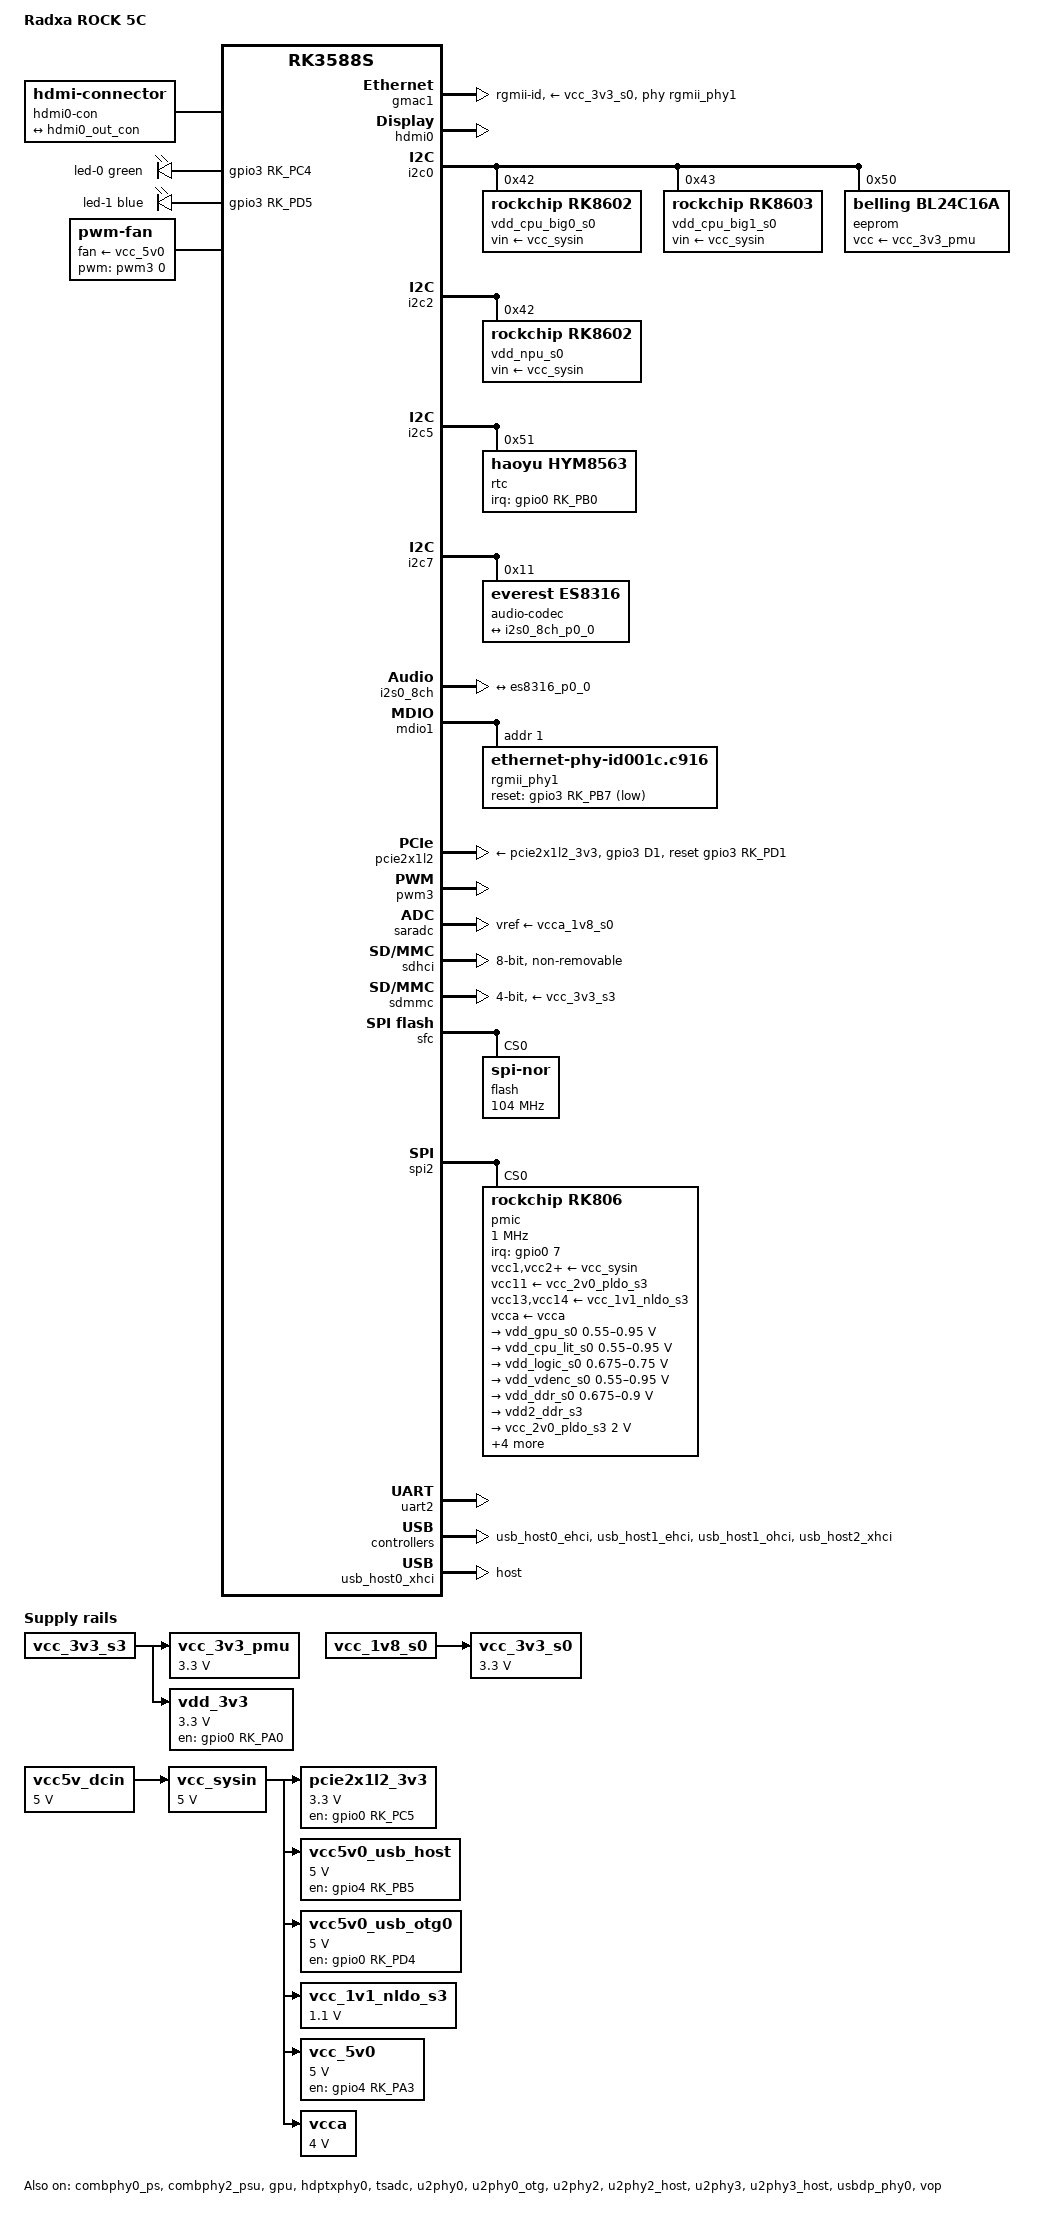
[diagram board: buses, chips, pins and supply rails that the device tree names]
// SPDX-License-Identifier: (GPL-2.0+ OR MIT)
/*
 * Copyright (c) 2024 Radxa Computer (Shenzhen) Co., Ltd.
 */

/dts-v1/;

#include <dt-bindings/gpio/gpio.h>
#include <dt-bindings/leds/common.h>
#include <dt-bindings/pinctrl/rockchip.h>
#include <dt-bindings/soc/rockchip,vop2.h>
#include "rk3588s.dtsi"

/ {
	model = "Radxa ROCK 5C";
	compatible = "radxa,rock-5c", "rockchip,rk3588s";

	aliases {
		ethernet0 = &gmac1;
		mmc0 = &sdhci;
		mmc1 = &sdmmc;
	};

	chosen {
		stdout-path = "serial2:1500000n8";
	};

	analog-sound {
		compatible = "audio-graph-card";
		label = "rk3588-es8316";
		dais = <&i2s0_8ch_p0>;
		routing = "MIC2", "Mic Jack",
			  "Headphones", "HPOL",
			  "Headphones", "HPOR";
		widgets = "Microphone", "Mic Jack",
			  "Headphone", "Headphones";
	};

	hdmi0-con {
		compatible = "hdmi-connector";
		type = "a";

		port {
			hdmi0_con_in: endpoint {
				remote-endpoint = <&hdmi0_out_con>;
			};
		};
	};

	leds {
		compatible = "gpio-leds";
		pinctrl-names = "default";
		pinctrl-0 = <&led_pins>;

		led-0 {
			color = <LED_COLOR_ID_GREEN>;
			default-state = "on";
			function = LED_FUNCTION_POWER;
			gpios = <&gpio3 RK_PC4 GPIO_ACTIVE_HIGH>;
		};

		led-1 {
			color = <LED_COLOR_ID_BLUE>;
			default-state = "on";
			function = LED_FUNCTION_HEARTBEAT;
			gpios = <&gpio3 RK_PD5 GPIO_ACTIVE_HIGH>;
			linux,default-trigger = "heartbeat";
		};
	};

	fan: fan {
		compatible = "pwm-fan";
		#cooling-cells = <2>;
		cooling-levels = <0 24 44 64 128 192 255>;
		fan-supply = <&vcc_5v0>;
		pwms = <&pwm3 0 10000 0>;
	};

	pcie2x1l2_3v3: regulator-pcie2x1l2-3v3 {
		compatible = "regulator-fixed";
		enable-active-high;
		gpio = <&gpio0 RK_PC5 GPIO_ACTIVE_HIGH>;
		pinctrl-names = "default";
		pinctrl-0 = <&pow_en>;
		regulator-name = "pcie2x1l2_3v3";
		regulator-min-microvolt = <3300000>;
		regulator-max-microvolt = <3300000>;
		vin-supply = <&vcc_sysin>;
	};

	vcc5v_dcin: regulator-vcc5v-dcin {
		compatible = "regulator-fixed";
		regulator-name = "vcc5v_dcin";
		regulator-always-on;
		regulator-boot-on;
		regulator-min-microvolt = <5000000>;
		regulator-max-microvolt = <5000000>;
	};

	vcc5v0_usb_host: regulator-vcc5v0-usb-host {
		compatible = "regulator-fixed";
		enable-active-high;
		gpio = <&gpio4 RK_PB5 GPIO_ACTIVE_HIGH>;
		pinctrl-names = "default";
		pinctrl-0 = <&usb_host_pwren_h>;
		regulator-name = "vcc5v0_usb_host";
		regulator-min-microvolt = <5000000>;
		regulator-max-microvolt = <5000000>;
		vin-supply = <&vcc_sysin>;
	};

	vcc5v0_usb_otg0: regulator-vcc5v0-usb-otg0 {
		compatible = "regulator-fixed";
		enable-active-high;
		gpio = <&gpio0 RK_PD4 GPIO_ACTIVE_HIGH>;
		pinctrl-names = "default";
		pinctrl-0 = <&usb_otg_pwren_h>;
		regulator-name = "vcc5v0_usb_otg0";
		regulator-min-microvolt = <5000000>;
		regulator-max-microvolt = <5000000>;
		vin-supply = <&vcc_sysin>;
	};

	vcc_1v1_nldo_s3: regulator-vcc-1v1-nldo-s3 {
		compatible = "regulator-fixed";
		regulator-name = "vcc_1v1_nldo_s3";
		regulator-always-on;
		regulator-boot-on;
		regulator-min-microvolt = <1100000>;
		regulator-max-microvolt = <1100000>;
		vin-supply = <&vcc_sysin>;
	};

	vcc_3v3_pmu: regulator-vcc-3v3-pmu {
		compatible = "regulator-fixed";
		regulator-name = "vcc_3v3_pmu";
		regulator-always-on;
		regulator-boot-on;
		regulator-min-microvolt = <3300000>;
		regulator-max-microvolt = <3300000>;
		vin-supply = <&vcc_3v3_s3>;
	};

	vcc_3v3_s0: regulator-vcc-3v3-s0 {
		compatible = "regulator-fixed";
		regulator-name = "vcc_3v3_s0";
		regulator-always-on;
		regulator-boot-on;
		regulator-min-microvolt = <3300000>;
		regulator-max-microvolt = <3300000>;
		vin-supply = <&vcc_1v8_s0>;
	};

	vcc_5v0: regulator-vcc-5v0 {
		compatible = "regulator-fixed";
		enable-active-high;
		gpio = <&gpio4 RK_PA3 GPIO_ACTIVE_HIGH>;
		pinctrl-names = "default";
		pinctrl-0 = <&vcc_5v0_pwren_h>;
		regulator-name = "vcc_5v0";
		regulator-min-microvolt = <5000000>;
		regulator-max-microvolt = <5000000>;
		vin-supply = <&vcc_sysin>;
	};

	vcc_sysin: regulator-vcc-sysin {
		compatible = "regulator-fixed";
		regulator-name = "vcc_sysin";
		regulator-always-on;
		regulator-boot-on;
		regulator-min-microvolt = <5000000>;
		regulator-max-microvolt = <5000000>;
		vin-supply = <&vcc5v_dcin>;
	};

	vcca: regulator-vcca {
		compatible = "regulator-fixed";
		regulator-name = "vcca";
		regulator-always-on;
		regulator-boot-on;
		regulator-min-microvolt = <4000000>;
		regulator-max-microvolt = <4000000>;
		vin-supply = <&vcc_sysin>;
	};

	vdd_3v3: regulator-vdd-3v3 {
		compatible = "regulator-fixed";
		enable-active-high;
		gpio = <&gpio0 RK_PA0 GPIO_ACTIVE_HIGH>;
		pinctrl-names = "default";
		pinctrl-0 = <&usb_wifi_pwr>;
		regulator-name = "vdd_3v3";
		regulator-always-on;
		regulator-boot-on;
		regulator-min-microvolt = <3300000>;
		regulator-max-microvolt = <3300000>;
		vin-supply = <&vcc_3v3_s3>;
	};
};

&combphy0_ps {
	status = "okay";
};

&combphy2_psu {
	status = "okay";
};

&cpu_b0 {
	cpu-supply = <&vdd_cpu_big0_s0>;
};

&cpu_b1 {
	cpu-supply = <&vdd_cpu_big0_s0>;
};

&cpu_b2 {
	cpu-supply = <&vdd_cpu_big1_s0>;
};

&cpu_b3 {
	cpu-supply = <&vdd_cpu_big1_s0>;
};

&cpu_l0 {
	cpu-supply = <&vdd_cpu_lit_s0>;
};

&cpu_l1 {
	cpu-supply = <&vdd_cpu_lit_s0>;
};

&cpu_l2 {
	cpu-supply = <&vdd_cpu_lit_s0>;
};

&cpu_l3 {
	cpu-supply = <&vdd_cpu_lit_s0>;
};

&gmac1 {
	phy-handle = <&rgmii_phy1>;
	phy-mode = "rgmii-id";
	phy-supply = <&vcc_3v3_s0>;
	pinctrl-0 = <&gmac1_miim
		     &gmac1_tx_bus2
		     &gmac1_rx_bus2
		     &gmac1_rgmii_clk
		     &gmac1_rgmii_bus
		     &gmac1_clkinout>;
	pinctrl-names = "default";
	status = "okay";
};

&gpu {
	mali-supply = <&vdd_gpu_s0>;
	status = "okay";
};

&hdmi0 {
	pinctrl-names = "default";
	pinctrl-0 = <&hdmim0_tx0_cec
		     &hdmim1_tx0_hpd
		     &hdmim0_tx0_scl
		     &hdmim0_tx0_sda>;
	status = "okay";
};

&hdmi0_in {
	hdmi0_in_vp0: endpoint {
		remote-endpoint = <&vp0_out_hdmi0>;
	};
};

&hdmi0_out {
	hdmi0_out_con: endpoint {
		remote-endpoint = <&hdmi0_con_in>;
	};
};

&hdptxphy0 {
	status = "okay";
};

&i2c0 {
	pinctrl-names = "default";
	pinctrl-0 = <&i2c0m2_xfer>;
	status = "okay";

	vdd_cpu_big0_s0: regulator@42 {
		compatible = "rockchip,rk8602";
		reg = <0x42>;
		fcs,suspend-voltage-selector = <1>;
		regulator-name = "vdd_cpu_big0_s0";
		regulator-always-on;
		regulator-boot-on;
		regulator-min-microvolt = <550000>;
		regulator-max-microvolt = <1050000>;
		regulator-ramp-delay = <2300>;
		vin-supply = <&vcc_sysin>;

		regulator-state-mem {
			regulator-off-in-suspend;
		};
	};

	vdd_cpu_big1_s0: regulator@43 {
		compatible = "rockchip,rk8603", "rockchip,rk8602";
		reg = <0x43>;
		fcs,suspend-voltage-selector = <1>;
		regulator-name = "vdd_cpu_big1_s0";
		regulator-always-on;
		regulator-boot-on;
		regulator-min-microvolt = <550000>;
		regulator-max-microvolt = <1050000>;
		regulator-ramp-delay = <2300>;
		vin-supply = <&vcc_sysin>;

		regulator-state-mem {
			regulator-off-in-suspend;
		};
	};

	eeprom@50 {
		compatible = "belling,bl24c16a", "atmel,24c16";
		reg = <0x50>;
		pagesize = <16>;
		vcc-supply = <&vcc_3v3_pmu>;
	};
};

&i2c2 {
	status = "okay";

	vdd_npu_s0: regulator@42 {
		compatible = "rockchip,rk8602";
		reg = <0x42>;
		fcs,suspend-voltage-selector = <1>;
		regulator-name = "vdd_npu_s0";
		regulator-always-on;
		regulator-boot-on;
		regulator-min-microvolt = <550000>;
		regulator-max-microvolt = <950000>;
		regulator-ramp-delay = <2300>;
		vin-supply = <&vcc_sysin>;

		regulator-state-mem {
			regulator-off-in-suspend;
		};
	};
};

&i2c5 {
	pinctrl-names = "default";
	pinctrl-0 = <&i2c5m2_xfer>;
	status = "okay";

	rtc@51 {
		compatible = "haoyu,hym8563";
		reg = <0x51>;
		#clock-cells = <0>;
		clock-output-names = "rtcic_32kout";
		interrupt-parent = <&gpio0>;
		interrupts = <RK_PB0 IRQ_TYPE_LEVEL_LOW>;
		pinctrl-names = "default";
		pinctrl-0 = <&rtc_int_l>;
	};
};

&i2c7 {
	status = "okay";

	audio-codec@11 {
		compatible = "everest,es8316";
		reg = <0x11>;
		assigned-clocks = <&cru I2S0_8CH_MCLKOUT>;
		assigned-clock-rates = <12288000>;
		clocks = <&cru I2S0_8CH_MCLKOUT>;
		clock-names = "mclk";
		#sound-dai-cells = <0>;

		port {
			es8316_p0_0: endpoint {
				remote-endpoint = <&i2s0_8ch_p0_0>;
			};
		};
	};
};

&i2s0_8ch {
	pinctrl-names = "default";
	pinctrl-0 = <&i2s0_lrck
		     &i2s0_mclk
		     &i2s0_sclk
		     &i2s0_sdi0
		     &i2s0_sdo0>;
	status = "okay";

	i2s0_8ch_p0: port {
		i2s0_8ch_p0_0: endpoint {
			dai-format = "i2s";
			mclk-fs = <256>;
			remote-endpoint = <&es8316_p0_0>;
		};
	};
};

&mdio1 {
	rgmii_phy1: ethernet-phy@1 {
		compatible = "ethernet-phy-id001c.c916";
		reg = <1>;
		pinctrl-names = "default";
		pinctrl-0 = <&gmac1_rstn>;
		reset-assert-us = <20000>;
		reset-deassert-us = <100000>;
		reset-gpios = <&gpio3 RK_PB7 GPIO_ACTIVE_LOW>;
	};
};

&package_thermal {
	polling-delay = <1000>;

	trips {
		package_fan0: package-fan0 {
			temperature = <55000>;
			hysteresis = <2000>;
			type = "active";
		};

		package_fan1: package-fan1 {
			temperature = <65000>;
			hysteresis = <2000>;
			type = "active";
		};
	};

	cooling-maps {
		map0 {
			trip = <&package_fan0>;
			cooling-device = <&fan THERMAL_NO_LIMIT 1>;
		};

		map1 {
			trip = <&package_fan1>;
			cooling-device = <&fan 2 THERMAL_NO_LIMIT>;
		};
	};
};

&pcie2x1l2 {
	pinctrl-names = "default";
	pinctrl-0 = <&pcie20x1_2_perstn_m0>;
	reset-gpios = <&gpio3 RK_PD1 GPIO_ACTIVE_HIGH>;
	vpcie3v3-supply = <&pcie2x1l2_3v3>;
	status = "okay";
};

&pd_gpu {
	domain-supply = <&vdd_gpu_s0>;
};

&pinctrl {
	leds {
		led_pins: led-pins {
			rockchip,pins = <3 RK_PC4 RK_FUNC_GPIO &pcfg_pull_none>,
					<3 RK_PD5 RK_FUNC_GPIO &pcfg_pull_none>;
		};
	};

	mdio {
		gmac1_rstn: gmac1-rstn {
			rockchip,pins = <3 RK_PB7 RK_FUNC_GPIO &pcfg_pull_none>;
		};
	};

	pcie {
		pcie20x1_2_perstn_m0: pcie20x1-2-perstn-m0 {
			rockchip,pins = <3 RK_PD1 RK_FUNC_GPIO &pcfg_pull_none>;
		};

		pow_en: pow-en {
			rockchip,pins = <0 RK_PC5 RK_FUNC_GPIO &pcfg_pull_none>;
		};
	};

	rtc {
		rtc_int_l: rtc-int-l {
			rockchip,pins = <0 RK_PB0 RK_FUNC_GPIO &pcfg_pull_none>;
		};
	};

	usb {
		usb_host_pwren_h: usb-host-pwren-h {
			rockchip,pins = <4 RK_PB5 RK_FUNC_GPIO &pcfg_pull_none>;
		};

		usb_otg_pwren_h: usb-otg-pwren-h {
			rockchip,pins = <0 RK_PD4 RK_FUNC_GPIO &pcfg_pull_none>;
		};

		usb_wifi_pwr: usb-wifi-pwr {
			rockchip,pins = <0 RK_PA0 RK_FUNC_GPIO &pcfg_pull_none>;
		};

		vcc_5v0_pwren_h: vcc-5v0-pwren-h {
			rockchip,pins = <4 RK_PA3 RK_FUNC_GPIO &pcfg_pull_none>;
		};
	};
};

&pwm3 {
	pinctrl-names = "default";
	pinctrl-0 = <&pwm3m1_pins>;
	status = "okay";
};

&saradc {
	vref-supply = <&vcca_1v8_s0>;
	status = "okay";
};

&sdhci {
	bus-width = <8>;
	mmc-hs400-1_8v;
	mmc-hs400-enhanced-strobe;
	no-sdio;
	no-sd;
	non-removable;
	status = "okay";
};

&sdmmc {
	bus-width = <4>;
	cap-mmc-highspeed;
	cap-sd-highspeed;
	disable-wp;
	no-sdio;
	no-mmc;
	sd-uhs-sdr104;
	vmmc-supply = <&vcc_3v3_s3>;
	vqmmc-supply = <&vccio_sd_s0>;
	status = "okay";
};

&sfc {
	pinctrl-names = "default";
	pinctrl-0 = <&fspim0_pins>;

	flash@0 {
		compatible = "jedec,spi-nor";
		reg = <0>;
		spi-max-frequency = <104000000>;
		spi-rx-bus-width = <4>;
		spi-tx-bus-width = <1>;
	};
};

&spi2 {
	status = "okay";
	assigned-clocks = <&cru CLK_SPI2>;
	assigned-clock-rates = <200000000>;
	num-cs = <1>;
	pinctrl-names = "default";
	pinctrl-0 = <&spi2m2_cs0 &spi2m2_pins>;

	pmic@0 {
		compatible = "rockchip,rk806";
		reg = <0>;
		gpio-controller;
		#gpio-cells = <2>;
		interrupt-parent = <&gpio0>;
		interrupts = <7 IRQ_TYPE_LEVEL_LOW>;
		pinctrl-names = "default";
		pinctrl-0 = <&pmic_pins>, <&rk806_dvs1_null>,
			    <&rk806_dvs2_null>, <&rk806_dvs3_null>;
		spi-max-frequency = <1000000>;
		system-power-controller;

		vcc1-supply = <&vcc_sysin>;
		vcc2-supply = <&vcc_sysin>;
		vcc3-supply = <&vcc_sysin>;
		vcc4-supply = <&vcc_sysin>;
		vcc5-supply = <&vcc_sysin>;
		vcc6-supply = <&vcc_sysin>;
		vcc7-supply = <&vcc_sysin>;
		vcc8-supply = <&vcc_sysin>;
		vcc9-supply = <&vcc_sysin>;
		vcc10-supply = <&vcc_sysin>;
		vcc11-supply = <&vcc_2v0_pldo_s3>;
		vcc12-supply = <&vcc_sysin>;
		vcc13-supply = <&vcc_1v1_nldo_s3>;
		vcc14-supply = <&vcc_1v1_nldo_s3>;
		vcca-supply = <&vcca>;

		rk806_dvs1_null: dvs1-null-pins {
			pins = "gpio_pwrctrl1";
			function = "pin_fun0";
		};

		rk806_dvs2_null: dvs2-null-pins {
			pins = "gpio_pwrctrl2";
			function = "pin_fun0";
		};

		rk806_dvs3_null: dvs3-null-pins {
			pins = "gpio_pwrctrl3";
			function = "pin_fun0";
		};

		regulators {
			vdd_gpu_s0: dcdc-reg1 {
				regulator-name = "vdd_gpu_s0";
				regulator-boot-on;
				regulator-min-microvolt = <550000>;
				regulator-max-microvolt = <950000>;
				regulator-ramp-delay = <12500>;
				regulator-enable-ramp-delay = <400>;

				regulator-state-mem {
					regulator-off-in-suspend;
				};
			};

			vdd_cpu_lit_s0: dcdc-reg2 {
				regulator-name = "vdd_cpu_lit_s0";
				regulator-always-on;
				regulator-boot-on;
				regulator-min-microvolt = <550000>;
				regulator-max-microvolt = <950000>;
				regulator-ramp-delay = <12500>;

				regulator-state-mem {
					regulator-off-in-suspend;
				};
			};

			vdd_logic_s0: dcdc-reg3 {
				regulator-name = "vdd_logic_s0";
				regulator-always-on;
				regulator-boot-on;
				regulator-min-microvolt = <675000>;
				regulator-max-microvolt = <750000>;
				regulator-ramp-delay = <12500>;

				regulator-state-mem {
					regulator-on-in-suspend;
					regulator-suspend-microvolt = <750000>;
				};
			};

			vdd_vdenc_s0: dcdc-reg4 {
				regulator-name = "vdd_vdenc_s0";
				regulator-always-on;
				regulator-boot-on;
				regulator-min-microvolt = <550000>;
				regulator-max-microvolt = <950000>;
				regulator-ramp-delay = <12500>;

				regulator-state-mem {
					regulator-off-in-suspend;
				};
			};

			vdd_ddr_s0: dcdc-reg5 {
				regulator-name = "vdd_ddr_s0";
				regulator-always-on;
				regulator-boot-on;
				regulator-min-microvolt = <675000>;
				regulator-max-microvolt = <900000>;
				regulator-ramp-delay = <12500>;

				regulator-state-mem {
					regulator-off-in-suspend;
					regulator-suspend-microvolt = <850000>;
				};
			};

			vdd2_ddr_s3: dcdc-reg6 {
				regulator-name = "vdd2_ddr_s3";
				regulator-always-on;
				regulator-boot-on;

				regulator-state-mem {
					regulator-on-in-suspend;
				};
			};

			vcc_2v0_pldo_s3: dcdc-reg7 {
				regulator-name = "vdd_2v0_pldo_s3";
				regulator-always-on;
				regulator-boot-on;
				regulator-min-microvolt = <2000000>;
				regulator-max-microvolt = <2000000>;
				regulator-ramp-delay = <12500>;

				regulator-state-mem {
					regulator-on-in-suspend;
					regulator-suspend-microvolt = <2000000>;
				};
			};

			vcc_3v3_s3: dcdc-reg8 {
				regulator-name = "vcc_3v3_s3";
				regulator-always-on;
				regulator-boot-on;
				regulator-min-microvolt = <3300000>;
				regulator-max-microvolt = <3300000>;

				regulator-state-mem {
					regulator-on-in-suspend;
					regulator-suspend-microvolt = <3300000>;
				};
			};

			vddq_ddr_s0: dcdc-reg9 {
				regulator-name = "vddq_ddr_s0";
				regulator-always-on;
				regulator-boot-on;

				regulator-state-mem {
					regulator-off-in-suspend;
				};
			};

			vcc1v8_pmu_ddr_s3: dcdc-reg10 {
				regulator-name = "vcc1v8_pmu_ddr_s3";
				regulator-always-on;
				regulator-boot-on;
				regulator-min-microvolt = <1800000>;
				regulator-max-microvolt = <1800000>;

				regulator-state-mem {
					regulator-on-in-suspend;
					regulator-suspend-microvolt = <1800000>;
				};
			};

			vcc_1v8_s0: pldo-reg1 {
				regulator-name = "vcc_1v8_s0";
				regulator-always-on;
				regulator-boot-on;
				regulator-min-microvolt = <1800000>;
				regulator-max-microvolt = <1800000>;

				regulator-state-mem {
					regulator-on-in-suspend;
					regulator-suspend-microvolt = <1800000>;
				};
			};

			vcca_1v8_s0: pldo-reg2 {
				regulator-name = "vcca_1v8_s0";
				regulator-always-on;
				regulator-boot-on;
				regulator-min-microvolt = <1800000>;
				regulator-max-microvolt = <1800000>;

				regulator-state-mem {
					regulator-on-in-suspend;
					regulator-suspend-microvolt = <1800000>;
				};
			};

			vdda_1v2_s0: pldo-reg3 {
				regulator-name = "vdda_1v2_s0";
				regulator-always-on;
				regulator-boot-on;
				regulator-min-microvolt = <1200000>;
				regulator-max-microvolt = <1200000>;

				regulator-state-mem {
					regulator-off-in-suspend;
				};
			};

			vcca_3v3_s0: pldo-reg4 {
				regulator-name = "vcca_3v3_s0";
				regulator-always-on;
				regulator-boot-on;
				regulator-min-microvolt = <3300000>;
				regulator-max-microvolt = <3300000>;

				regulator-state-mem {
					regulator-on-in-suspend;
					regulator-suspend-microvolt = <3300000>;
				};
			};

			vccio_sd_s0: pldo-reg5 {
				regulator-name = "vccio_sd_s0";
				regulator-always-on;
				regulator-boot-on;
				regulator-min-microvolt = <1800000>;
				regulator-max-microvolt = <3300000>;

				regulator-state-mem {
					regulator-off-in-suspend;
				};
			};

			pldo6_s3: pldo-reg6 {
				regulator-name = "pldo6_s3";
				regulator-always-on;
				regulator-boot-on;
				regulator-min-microvolt = <1800000>;
				regulator-max-microvolt = <1800000>;

				regulator-state-mem {
					regulator-on-in-suspend;
					regulator-suspend-microvolt = <1800000>;
				};
			};

			vdd_0v75_s3: nldo-reg1 {
				regulator-name = "vdd_0v75_s3";
				regulator-always-on;
				regulator-boot-on;
				regulator-min-microvolt = <750000>;
				regulator-max-microvolt = <750000>;

				regulator-state-mem {
					regulator-on-in-suspend;
					regulator-suspend-microvolt = <750000>;
				};
			};

			vdda_ddr_pll_s0: nldo-reg2 {
				regulator-name = "vdda_ddr_pll_s0";
				regulator-always-on;
				regulator-boot-on;
				regulator-min-microvolt = <850000>;
				regulator-max-microvolt = <850000>;

				regulator-state-mem {
					regulator-on-in-suspend;
					regulator-suspend-microvolt = <850000>;
				};
			};

			vdda_0v75_s0: nldo-reg3 {
				regulator-name = "vdda_0v75_s0";
				regulator-always-on;
				regulator-boot-on;
				regulator-min-microvolt = <750000>;
				regulator-max-microvolt = <750000>;

				regulator-state-mem {
					regulator-off-in-suspend;
				};
			};

			vdda_0v85_s0: nldo-reg4 {
				regulator-name = "vdda_0v85_s0";
				regulator-always-on;
				regulator-boot-on;
				regulator-min-microvolt = <850000>;
				regulator-max-microvolt = <850000>;

				regulator-state-mem {
					regulator-off-in-suspend;
				};
			};

			vdd_0v75_s0: nldo-reg5 {
				regulator-name = "vdd_0v75_s0";
				regulator-always-on;
				regulator-boot-on;
				regulator-min-microvolt = <750000>;
				regulator-max-microvolt = <750000>;

				regulator-state-mem {
					regulator-off-in-suspend;
				};
			};
		};
	};
};

&tsadc {
	rockchip,hw-tshut-mode = <1>; /* tshut mode 0:CRU 1:GPIO */
	rockchip,hw-tshut-polarity = <0>; /* tshut polarity 0:LOW 1:HIGH */
	status = "okay";
};

&u2phy0 {
	status = "okay";
};

&u2phy0_otg {
	phy-supply = <&vcc5v0_usb_otg0>;
	status = "okay";
};

&u2phy2 {
	status = "okay";
};

&u2phy2_host {
	/* connected to USB hub, which is powered by vcc_5v0 */
	phy-supply = <&vcc_5v0>;
	status = "okay";
};

&u2phy3 {
	status = "okay";
};

&u2phy3_host {
	phy-supply = <&vcc5v0_usb_host>;
	status = "okay";
};

&uart2 {
	pinctrl-0 = <&uart2m0_xfer>;
	status = "okay";
};

&usbdp_phy0 {
	status = "okay";
};

&usb_host0_ehci {
	status = "okay";
};

&usb_host0_xhci {
	dr_mode = "host";
	status = "okay";
};

&usb_host1_ehci {
	status = "okay";
};

&usb_host1_ohci {
	status = "okay";
};

&usb_host2_xhci {
	status = "okay";
};

&vop_mmu {
	status = "okay";
};

&vop {
	status = "okay";
};

&vp0 {
	vp0_out_hdmi0: endpoint@ROCKCHIP_VOP2_EP_HDMI0 {
		reg = <ROCKCHIP_VOP2_EP_HDMI0>;
		remote-endpoint = <&hdmi0_in_vp0>;
	};
};
